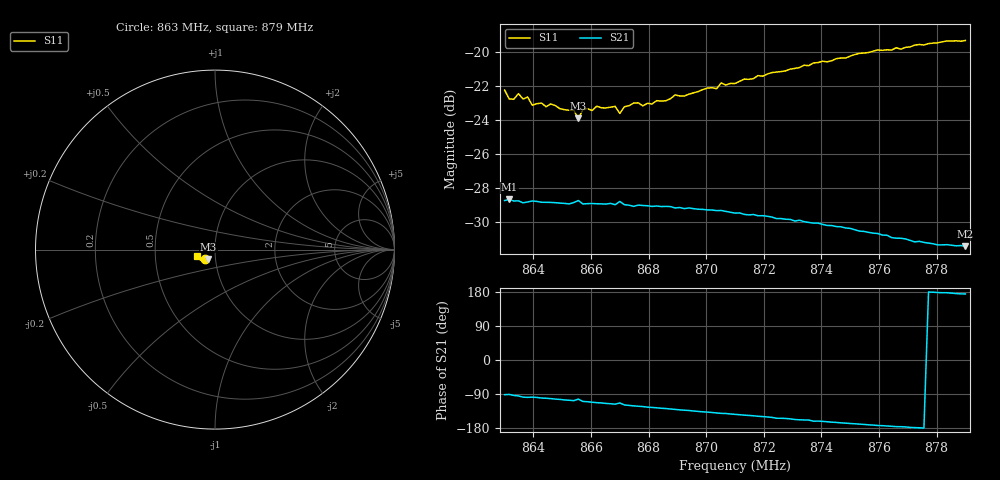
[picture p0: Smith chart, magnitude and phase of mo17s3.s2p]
# HZ S RI R 50
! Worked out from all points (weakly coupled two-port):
!   101 points, 863 MHz to 879 MHz, reference 50 ohm
!   highest |S21| = -28.67 dB at 863.16 MHz (marker M1); lowest = -31.4 dB at 879 MHz (marker M2)
!   lowest |S11| = -23.9 dB at 865.56 MHz (marker M3), VSWR 1.14, Z = 46.2 - j4.81 ohm
!   |S11| at or under -10 dB: start of sweep to end of sweep
!   S12 and S22 are empty: the file has one direction only
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8.63e8  -0.0558 -0.0532  -0.000927 -0.0365  0 0  0 0
8.6316e8  -0.0507 -0.052  -0.000575 -0.0368  0 0  0 0
8.6348e8  -0.055 -0.0514  -0.00308 -0.0364  0 0  0 0
8.6364e8  -0.0515 -0.0512  -0.00502 -0.0357  0 0  0 0
8.638e8  -0.053 -0.051  -0.00541 -0.0358  0 0  0 0
8.6396e8  -0.0494 -0.0491  -0.0051 -0.0361  0 0  0 0
8.646e8  -0.0474 -0.0518  -0.00745 -0.0353  0 0  0 0
8.654e8  -0.0433 -0.0516  -0.0107 -0.0344  0 0  0 0
8.6556e8  -0.0369 -0.0519  -0.0084 -0.0356  0 0  0 0
8.6572e8  -0.0444 -0.0509  -0.0118 -0.0337  0 0  0 0
8.6684e8  -0.0432 -0.0539  -0.0159 -0.0318  0 0  0 0
8.67e8  -0.038 -0.0538  -0.0145 -0.0333  0 0  0 0
8.6716e8  -0.0422 -0.0544  -0.017 -0.0312  0 0  0 0
8.6748e8  -0.0427 -0.0563  -0.0182 -0.0301  0 0  0 0
8.678e8  -0.0425 -0.0547  -0.0192 -0.0297  0 0  0 0
8.6844e8  -0.0439 -0.0566  -0.0213 -0.0279  0 0  0 0
8.7036e8  -0.0477 -0.0615  -0.0261 -0.022  0 0  0 0
8.7052e8  -0.0507 -0.063  -0.0265 -0.0216  0 0  0 0
8.71e8  -0.0511 -0.0624  -0.027 -0.02  0 0  0 0
8.7372e8  -0.0666 -0.0643  -0.0297 -0.00999  0 0  0 0
8.7644e8  -0.0863 -0.0526  -0.0283 -0.00256  0 0  0 0
8.79e8  -0.1024 -0.0337  -0.0267 0.00268  0 0  0 0
